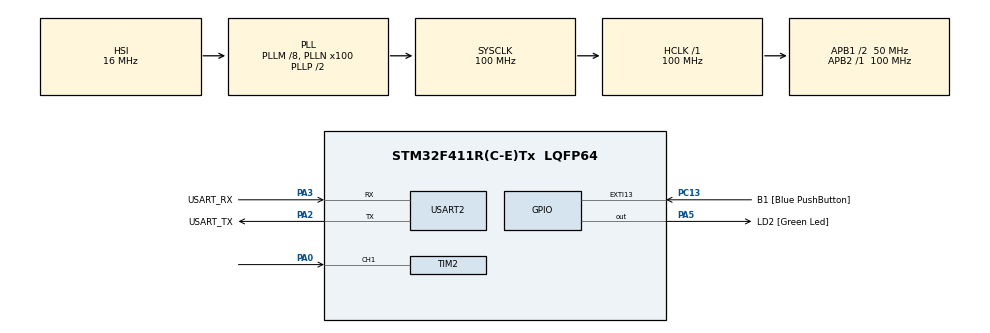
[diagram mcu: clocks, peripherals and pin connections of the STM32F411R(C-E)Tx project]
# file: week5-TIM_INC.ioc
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Dma.Request0=TIM2_CH1
Dma.TIM2_CH1.0.Direction=DMA_PERIPH_TO_MEMORY
Dma.TIM2_CH1.0.FIFOMode=DMA_FIFOMODE_DISABLE
Dma.TIM2_CH1.0.Instance=DMA1_Stream5
Dma.TIM2_CH1.0.MemDataAlignment=DMA_MDATAALIGN_WORD
Dma.TIM2_CH1.0.MemInc=DMA_MINC_ENABLE
Dma.TIM2_CH1.0.Mode=DMA_CIRCULAR
Dma.TIM2_CH1.0.PeriphDataAlignment=DMA_PDATAALIGN_WORD
Dma.TIM2_CH1.0.PeriphInc=DMA_PINC_DISABLE
Dma.TIM2_CH1.0.Priority=DMA_PRIORITY_LOW
Mcu.Family=STM32F4
Mcu.Name=STM32F411R(C-E)Tx
Mcu.Package=LQFP64
NVIC.DMA1_Stream5_IRQn=true\:0\:0\:false\:false\:true\:false\:true
NVIC.PriorityGroup=NVIC_PRIORITYGROUP_0
NVIC.TIM2_IRQn=true\:0\:0\:false\:false\:true\:true\:true
NVIC.TIM5_IRQn=true\:0\:0\:false\:false\:true\:true\:true
PA0-WKUP.Signal=S_TIM2_CH1_ETR
PA13.GPIO_Label=TMS
PA13.Mode=Serial_Wire
PA13.Signal=SYS_JTMS-SWDIO
PA14.GPIO_Label=TCK
PA14.Mode=Serial_Wire
PA14.Signal=SYS_JTCK-SWCLK
PA2.GPIO_Label=USART_TX
PA2.Mode=Asynchronous
PA2.Signal=USART2_TX
PA3.GPIO_Label=USART_RX
PA3.Mode=Asynchronous
PA3.Signal=USART2_RX
PA5.GPIO_Label=LD2 [Green Led]
PA5.Signal=GPIO_Output
PB3.GPIO_Label=SWO
PB3.Signal=SYS_JTDO-SWO
PC13-ANTI_TAMP.GPIO_Label=B1 [Blue PushButton]
PC13-ANTI_TAMP.GPIO_ModeDefaultEXTI=GPIO_MODE_IT_FALLING
PC13-ANTI_TAMP.Signal=GPXTI13
PC14-OSC32_IN.Mode=LSE-External-Oscillator
PC14-OSC32_IN.Signal=RCC_OSC32_IN
PC15-OSC32_OUT.Mode=LSE-External-Oscillator
PC15-OSC32_OUT.Signal=RCC_OSC32_OUT
PH0\ -\ OSC_IN.Mode=HSE-External-Clock-Source
PH0\ -\ OSC_IN.Signal=RCC_OSC_IN
PH1\ -\ OSC_OUT.Mode=HSE-External-Clock-Source
PH1\ -\ OSC_OUT.Signal=RCC_OSC_OUT
ProjectManager.HeapSize=0x200
ProjectManager.StackSize=0x400
ProjectManager.TargetToolchain=STM32CubeIDE
RCC.48MHZClocksFreq_Value=50000000
RCC.AHBFreq_Value=100000000
RCC.APB1CLKDivider=RCC_HCLK_DIV2
RCC.APB1Freq_Value=50000000
RCC.APB1TimFreq_Value=100000000
RCC.APB2Freq_Value=100000000
RCC.APB2TimFreq_Value=100000000
RCC.CortexFreq_Value=100000000
RCC.FLatency-AdvancedSettings=FLASH_LATENCY_3
RCC.HCLKFreq_Value=100000000
RCC.HSE_VALUE=8000000
RCC.HSI_VALUE=16000000
RCC.PLLM=8
RCC.PLLN=100
RCC.SYSCLKFreq_VALUE=100000000
RCC.SYSCLKSource=RCC_SYSCLKSOURCE_PLLCLK
RCC.VCOOutputFreq_Value=200000000
SH.S_TIM2_CH1_ETR.0=TIM2_CH1,Input_Capture1_from_TI1
TIM2.Channel-Input_Capture1_from_TI1=TIM_CHANNEL_1
TIM2.ICFilter_CH1=2
TIM2.Prescaler=99
TIM5.Prescaler=99
USART2.VirtualMode=VM_ASYNC
VP_TIM2_VS_ClockSourceINT.Mode=Internal
VP_TIM5_VS_OPM.Mode=OPM_bit
board=NUCLEO-F411RE

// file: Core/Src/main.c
/* USER CODE BEGIN Header */
/**
  ******************************************************************************
  * @file           : main.c
  * @brief          : Main program body
  ******************************************************************************
  * @attention
  *
  * <h2><center>&copy; Copyright (c) 2021 STMicroelectronics.
  * All rights reserved.</center></h2>
  *
  * This software component is licensed by ST under BSD 3-Clause license,
  * the "License"; You may not use this file except in compliance with the
  * License. You may obtain a copy of the License at:
  *                        opensource.org/licenses/BSD-3-Clause
  *
  ******************************************************************************
  */
/* USER CODE END Header */
#include "main.h"

/* USER CODE BEGIN PD */
#define capturenum 16
/* USER CODE END PD */

TIM_HandleTypeDef htim2;
TIM_HandleTypeDef htim5;
DMA_HandleTypeDef hdma_tim2_ch1;

UART_HandleTypeDef huart2;

/* USER CODE BEGIN PV */
uint32_t _micro = 0;
uint32_t timestamp = 0;
uint32_t capturedata[capturenum] = {0};
int32_t Difftime[capturenum -1] = {0};
float Meantime = 0;
int RPM = 0;
int PPR = 12;
/* USER CODE END PV */

void SystemClock_Config(void);
static void MX_GPIO_Init(void);
static void MX_DMA_Init(void);
static void MX_USART2_UART_Init(void);
static void MX_TIM2_Init(void);
static void MX_TIM5_Init(void);
/* USER CODE BEGIN PFP */
uint64_t micro();
void SpeedMotor();
/* USER CODE END PFP */

int main(void)
{

  /* MCU Configuration--------------------------------------------------------*/

  /* Reset of all peripherals, Initializes the Flash interface and the Systick. */
  HAL_Init();

  /* Configure the system clock */
  SystemClock_Config();

  /* Initialize all configured peripherals */
  MX_GPIO_Init();
  MX_DMA_Init();
  MX_USART2_UART_Init();
  MX_TIM2_Init();
  MX_TIM5_Init();
  /* USER CODE BEGIN 2 */
HAL_TIM_Base_Start_IT(&htim5);
HAL_TIM_Base_Start(&htim2);
HAL_TIM_IC_Start_DMA(&htim2, TIM_CHANNEL_1, (uint32_t*)capturedata, capturenum);
  /* USER CODE END 2 */

  /* Infinite loop */
  while (1)
  {

    /* USER CODE BEGIN 3 */
	  if(micro()-timestamp>=100000)
	  {
		  timestamp = micro();
		  HAL_GPIO_TogglePin(LD2_GPIO_Port, LD2_Pin);
	  }
	  SpeedMotor();
  }
  /* USER CODE END 3 */
}

void SystemClock_Config(void)
{
  RCC_OscInitTypeDef RCC_OscInitStruct = {0};
  RCC_ClkInitTypeDef RCC_ClkInitStruct = {0};

  /** Configure the main internal regulator output voltage
  */
  __HAL_RCC_PWR_CLK_ENABLE();
  __HAL_PWR_VOLTAGESCALING_CONFIG(PWR_REGULATOR_VOLTAGE_SCALE1);
  /** Initializes the RCC Oscillators according to the specified parameters
  * in the RCC_OscInitTypeDef structure.
  */
  RCC_OscInitStruct.OscillatorType = RCC_OSCILLATORTYPE_HSI;
  RCC_OscInitStruct.HSIState = RCC_HSI_ON;
  RCC_OscInitStruct.HSICalibrationValue = RCC_HSICALIBRATION_DEFAULT;
  RCC_OscInitStruct.PLL.PLLState = RCC_PLL_ON;
  RCC_OscInitStruct.PLL.PLLSource = RCC_PLLSOURCE_HSI;
  RCC_OscInitStruct.PLL.PLLM = 8;
  RCC_OscInitStruct.PLL.PLLN = 100;
  RCC_OscInitStruct.PLL.PLLP = RCC_PLLP_DIV2;
  RCC_OscInitStruct.PLL.PLLQ = 4;
  if (HAL_RCC_OscConfig(&RCC_OscInitStruct) != HAL_OK)
  {
    Error_Handler();
  }
  /** Initializes the CPU, AHB and APB buses clocks
  */
  RCC_ClkInitStruct.ClockType = RCC_CLOCKTYPE_HCLK|RCC_CLOCKTYPE_SYSCLK
                              |RCC_CLOCKTYPE_PCLK1|RCC_CLOCKTYPE_PCLK2;
  RCC_ClkInitStruct.SYSCLKSource = RCC_SYSCLKSOURCE_PLLCLK;
  RCC_ClkInitStruct.AHBCLKDivider = RCC_SYSCLK_DIV1;
  RCC_ClkInitStruct.APB1CLKDivider = RCC_HCLK_DIV2;
  RCC_ClkInitStruct.APB2CLKDivider = RCC_HCLK_DIV1;

  if (HAL_RCC_ClockConfig(&RCC_ClkInitStruct, FLASH_LATENCY_3) != HAL_OK)
  {
    Error_Handler();
  }
}

static void MX_TIM2_Init(void)
{

  TIM_ClockConfigTypeDef sClockSourceConfig = {0};
  TIM_MasterConfigTypeDef sMasterConfig = {0};
  TIM_IC_InitTypeDef sConfigIC = {0};

  htim2.Instance = TIM2;
  htim2.Init.Prescaler = 99;
  htim2.Init.CounterMode = TIM_COUNTERMODE_UP;
  htim2.Init.Period = 4294967295;
  htim2.Init.ClockDivision = TIM_CLOCKDIVISION_DIV1;
  htim2.Init.AutoReloadPreload = TIM_AUTORELOAD_PRELOAD_DISABLE;
  if (HAL_TIM_Base_Init(&htim2) != HAL_OK)
  {
    Error_Handler();
  }
  sClockSourceConfig.ClockSource = TIM_CLOCKSOURCE_INTERNAL;
  if (HAL_TIM_ConfigClockSource(&htim2, &sClockSourceConfig) != HAL_OK)
  {
    Error_Handler();
  }
  if (HAL_TIM_IC_Init(&htim2) != HAL_OK)
  {
    Error_Handler();
  }
  sMasterConfig.MasterOutputTrigger = TIM_TRGO_RESET;
  sMasterConfig.MasterSlaveMode = TIM_MASTERSLAVEMODE_DISABLE;
  if (HAL_TIMEx_MasterConfigSynchronization(&htim2, &sMasterConfig) != HAL_OK)
  {
    Error_Handler();
  }
  sConfigIC.ICPolarity = TIM_INPUTCHANNELPOLARITY_RISING;
  sConfigIC.ICSelection = TIM_ICSELECTION_DIRECTTI;
  sConfigIC.ICPrescaler = TIM_ICPSC_DIV1;
  sConfigIC.ICFilter = 2;
  if (HAL_TIM_IC_ConfigChannel(&htim2, &sConfigIC, TIM_CHANNEL_1) != HAL_OK)
  {
    Error_Handler();
  }

}

static void MX_TIM5_Init(void)
{

  htim5.Instance = TIM5;
  htim5.Init.Prescaler = 99;
  htim5.Init.CounterMode = TIM_COUNTERMODE_UP;
  htim5.Init.Period = 4294967295;
  htim5.Init.ClockDivision = TIM_CLOCKDIVISION_DIV1;
  htim5.Init.AutoReloadPreload = TIM_AUTORELOAD_PRELOAD_DISABLE;
  if (HAL_TIM_OnePulse_Init(&htim5, TIM_OPMODE_SINGLE) != HAL_OK)
  {
    Error_Handler();
  }

}

static void MX_USART2_UART_Init(void)
{

  huart2.Instance = USART2;
  huart2.Init.BaudRate = 115200;
  huart2.Init.WordLength = UART_WORDLENGTH_8B;
  huart2.Init.StopBits = UART_STOPBITS_1;
  huart2.Init.Parity = UART_PARITY_NONE;
  huart2.Init.Mode = UART_MODE_TX_RX;
  huart2.Init.HwFlowCtl = UART_HWCONTROL_NONE;
  huart2.Init.OverSampling = UART_OVERSAMPLING_16;
  if (HAL_UART_Init(&huart2) != HAL_OK)
  {
    Error_Handler();
  }

}

static void MX_DMA_Init(void)
{

  /* DMA controller clock enable */
  __HAL_RCC_DMA1_CLK_ENABLE();

  /* DMA interrupt init */
  /* DMA1_Stream5_IRQn interrupt configuration */
  HAL_NVIC_SetPriority(DMA1_Stream5_IRQn, 0, 0);
  HAL_NVIC_EnableIRQ(DMA1_Stream5_IRQn);

}

static void MX_GPIO_Init(void)
{
  GPIO_InitTypeDef GPIO_InitStruct = {0};

  /* GPIO Ports Clock Enable */
  __HAL_RCC_GPIOC_CLK_ENABLE();
  __HAL_RCC_GPIOH_CLK_ENABLE();
  __HAL_RCC_GPIOA_CLK_ENABLE();
  __HAL_RCC_GPIOB_CLK_ENABLE();

  /*Configure GPIO pin Output Level */
  HAL_GPIO_WritePin(LD2_GPIO_Port, LD2_Pin, GPIO_PIN_RESET);

  /*Configure GPIO pin : B1_Pin */
  GPIO_InitStruct.Pin = B1_Pin;
  GPIO_InitStruct.Mode = GPIO_MODE_IT_FALLING;
  GPIO_InitStruct.Pull = GPIO_NOPULL;
  HAL_GPIO_Init(B1_GPIO_Port, &GPIO_InitStruct);

  /*Configure GPIO pin : LD2_Pin */
  GPIO_InitStruct.Pin = LD2_Pin;
  GPIO_InitStruct.Mode = GPIO_MODE_OUTPUT_PP;
  GPIO_InitStruct.Pull = GPIO_NOPULL;
  GPIO_InitStruct.Speed = GPIO_SPEED_FREQ_LOW;
  HAL_GPIO_Init(LD2_GPIO_Port, &GPIO_InitStruct);

}

/* USER CODE BEGIN 4 */
uint64_t micro()
{
	return _micro + htim5.Instance->CNT;
}
void HAL_TIM_PeriodElapsedCallback(TIM_HandleTypeDef *htim)
{
	if(htim == &htim5)
	{
		_micro += 4294967296;
	}
}
void SpeedMotor()
{
	uint32_t Position = capturenum -  __HAL_DMA_GET_COUNTER(htim2.hdma[TIM_DMA_ID_CC1]);
	uint32_t Sum = 0;
	for( int i=0; i<capturenum-1; i++)
	{
		Difftime[i]=capturedata[(Position+1+i)%capturenum]-capturedata[(Position+i)%capturenum];
		if(Difftime[i]<0)
		{
			Difftime[i]+=4294967296;
		}
		Sum += Difftime[i];
	}
	Meantime = Sum / (float)(capturenum -1);
//	frequency = 1/(Meantime*0.000001);
//	RPM = (frequency * 60)/(PPR*64); //PPM / PPR = RPM
	RPM = 60/(Meantime*0.000001*PPR*64); //gear ratio = 64
}
/* USER CODE END 4 */

void Error_Handler(void)
{
  __disable_irq();
  while (1)
  {
  }
}

/************************ (C) COPYRIGHT STMicroelectronics *****END OF FILE****/
